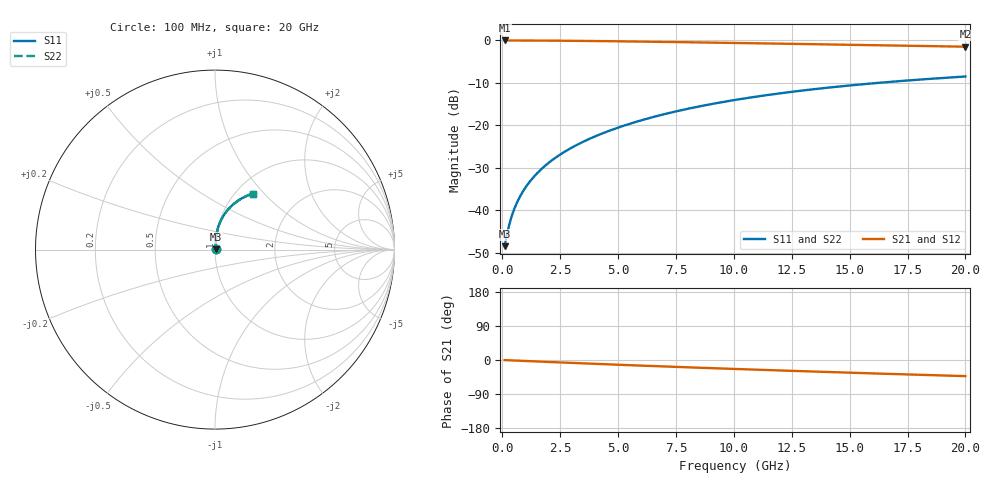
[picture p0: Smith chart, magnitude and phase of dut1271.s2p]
! Touchstone file exported from HFSS 2024.1.0
!  File:  C:/UserFiles/LocalFiles/RDL_TSV_Batchsim/temp_RDL_top_1271_1780242177.aedt
!  Generated:  11:45:07 PM May 31, 2026
!  Design:  RDL_top
!  Project:  temp_RDL_top_1271_1780242177
!  Setup:  Setup1
!  Solution:  Sweep
! Variables:
!  dtsv = 10.80580581um
!  hbump = 3um
!  htsv = 97.62um
!  ldown = 100um
!  lrdl = 584.81um
!  p = 40
!  p1 = 54.2um
!  rhole = 1um
!  t = 450um
!  tdown = 3.915915916um
!  trdl = 2.88um
!  wdown = 15.38538539um
!  wrdl = 24.22um
# GHz S MA R 50.000000
! Terminal data exported
! Port[1] = Box2_T1
! Port[2] = Box2_T2
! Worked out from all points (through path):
!   200 points, 100 MHz to 20 GHz, reference 50 ohm
!   highest |S21| = -0.03 dB at 100 MHz (marker M1); lowest = -1.5 dB at 20 GHz (marker M2)
!   group delay of S21, straight-line fit = 5.86 ps
!   lowest |S11| = -48.4 dB at 100 MHz (marker M3), VSWR 1.01, Z = 50.3 + j0.201 ohm
!   |S11| at or under -10 dB: start of sweep to 16.25 GHz
!   |S22| runs from -48.4 to -8.5 dB; largest |S21 - S12| = 2.1e-15
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0.1  0.003789 31.8  0.9968 -0.3  0.9968 -0.3  0.003789 31.8
! Gamma 0 0 0 0
! Port Impedance 50 0 50 0
0.2  0.005172 49.5  0.9966 -0.5  0.9966 -0.5  0.005172 49.5
0.3  0.00678 58.7  0.9964 -0.8  0.9964 -0.8  0.00678 58.7
0.4  0.008435 64.2  0.9962 -1.1  0.9962 -1.1  0.008435 64.2
0.5  0.0101 67.9  0.996 -1.3  0.996 -1.3  0.0101 67.9
0.6  0.01177 70.6  0.9958 -1.6  0.9958 -1.6  0.01177 70.6
0.8  0.01513 74.4  0.9953 -2.1  0.9953 -2.1  0.01513 74.4
1.1  0.02026 78.0  0.9947 -2.9  0.9947 -2.9  0.02026 78.0
1.3  0.02374 79.6  0.9942 -3.4  0.9942 -3.4  0.02374 79.5
1.6  0.02902 81.2  0.9933 -4.1  0.9933 -4.1  0.02902 81.2
2.1  0.038 82.9  0.9915 -5.4  0.9915 -5.4  0.038 82.9
2.7  0.04906 83.9  0.9889 -6.9  0.9889 -6.9  0.04905 83.9
3.5  0.06424 84.4  0.9845 -8.9  0.9845 -8.9  0.06424 84.3
4.2  0.07793 84.3  0.9801 -10.6  0.9801 -10.6  0.07792 84.2
5  0.09398 83.7  0.9745 -12.5  0.9745 -12.5  0.09395 83.7
6.8  0.1312 81.4  0.9602 -16.7  0.9602 -16.7  0.1311 81.4
8.4  0.1647 78.7  0.9464 -20.2  0.9464 -20.2  0.1646 78.7
10.1  0.2 75.4  0.9313 -23.8  0.9313 -23.8  0.1999 75.4
11.7  0.2322 72.2  0.9168 -27.0  0.9168 -27.0  0.2321 72.2
13.4  0.2651 68.8  0.9012 -30.4  0.9012 -30.4  0.2649 68.7
16.7  0.3238 62.2  0.8712 -36.7  0.8712 -36.7  0.3236 62.2
20  0.3753 56.1  0.8417 -42.5  0.8417 -42.5  0.3751 56.0
